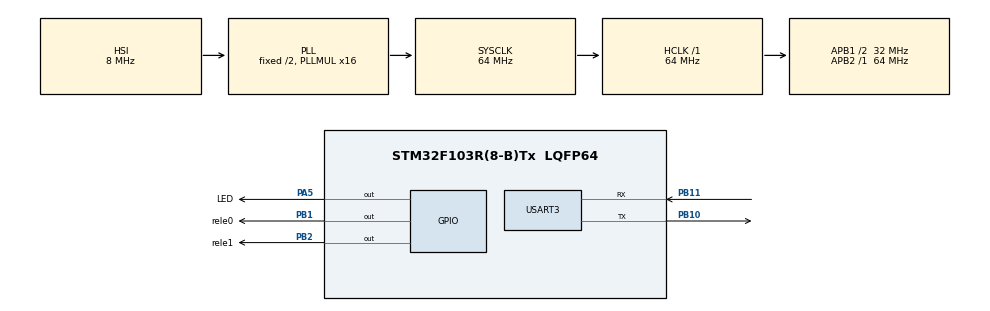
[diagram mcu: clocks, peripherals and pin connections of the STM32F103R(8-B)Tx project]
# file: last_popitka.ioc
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Mcu.Family=STM32F1
NVIC.USART3_IRQn=true\:0\:0\:false\:false\:true\:true\:true
PB10.Mode=Asynchronous
RCC.APB1CLKDivider=RCC_HCLK_DIV2
PB11.Signal=USART3_RX
RCC.SYSCLKSource=RCC_SYSCLKSOURCE_PLLCLK
ProjectManager.StackSize=0x400
PA13.Signal=SYS_JTMS-SWDIO
PB11.Mode=Asynchronous
ProjectManager.TargetToolchain=STM32CubeIDE
RCC.HCLKFreq_Value=64000000
RCC.APB2TimFreq_Value=64000000
RCC.USBFreq_Value=64000000
RCC.AHBFreq_Value=64000000
PB10.Signal=USART3_TX
PA5.Signal=GPIO_Output
PB2.Signal=GPIO_Output
board=custom
RCC.PLLMUL=RCC_PLL_MUL16
RCC.APB2Freq_Value=64000000
VP_TIM2_VS_ClockSourceINT.Mode=Internal
PA14.Mode=Serial_Wire
PB1.GPIO_Label=rele0
NVIC.TIM2_IRQn=true\:0\:0\:false\:false\:true\:true\:true
TIM2.Period=4000
PA13.Mode=Serial_Wire
Mcu.Name=STM32F103R(8-B)Tx
RCC.SYSCLKFreq_VALUE=64000000
Mcu.Package=LQFP64
TIM2.Prescaler=31999
PB1.Signal=GPIO_Output
PA5.GPIO_Label=LED
USART3.VirtualMode=VM_ASYNC
PA14.Signal=SYS_JTCK-SWCLK
PB2.GPIO_Label=rele1
ProjectManager.HeapSize=0x200
NVIC.PriorityGroup=NVIC_PRIORITYGROUP_4
TIM2.TIM_MasterOutputTrigger=TIM_TRGO_UPDATE
RCC.APB1TimFreq_Value=64000000
RCC.APB1Freq_Value=32000000

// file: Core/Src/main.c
/* USER CODE BEGIN Header */
/**
  ******************************************************************************
  * @file           : main.c
  * @brief          : Main program body
  ******************************************************************************
  * @attention
  *
  * <h2><center>&copy; Copyright (c) 2021 STMicroelectronics.
  * All rights reserved.</center></h2>
  *
  * This software component is licensed by ST under BSD 3-Clause license,
  * the "License"; You may not use this file except in compliance with the
  * License. You may obtain a copy of the License at:
  *                        opensource.org/licenses/BSD-3-Clause
  *
  ******************************************************************************
  */
/* USER CODE END Header */
#include "main.h"

/* USER CODE BEGIN Includes */
#include <string.h>
/* USER CODE END Includes */

TIM_HandleTypeDef htim2;

UART_HandleTypeDef huart3;

/* USER CODE BEGIN PV */
int sr0=0;
char str1[60]={0};
typedef struct USART_prop{
  uint8_t usart_buf[60];
  uint8_t usart_cnt;
  uint8_t is_tcp_connect;//статус попытки создать соединение TCP с сервером
  uint8_t is_text;//статус попытки передать текст серверу
} USART_prop_ptr;
USART_prop_ptr usartprop;
uint8_t i=0;
char *str2[] =
{
  "String1\r\n",
  "String2\r\n",
  "String3\r\n",
  "String4\r\n",
  "String5\r\n"
};
/* USER CODE END PV */

void SystemClock_Config(void);
static void MX_GPIO_Init(void);
static void MX_TIM2_Init(void);
static void MX_USART3_UART_Init(void);

/* USER CODE BEGIN 0 */
void string_parse(char* buf_str)
{
	char* tmpBufStr = "You sent  ";
	HAL_UART_Transmit(&huart3,(uint8_t*)buf_str,strlen(buf_str),0x1000);
	HAL_UART_Transmit(&huart3,(uint8_t*)tmpBufStr,strlen(tmpBufStr),0x1000);

  HAL_UART_Transmit(&huart3,(uint8_t*)buf_str,strlen(buf_str),0x1000);
  //HAL_GPIO_TogglePin(GPIOC, GPIO_PIN_13);
}
//-----------------------------------------------

void UART2_RxCpltCallback(void)
{
  uint8_t b;
  b = str1[0];
  //если вдруг случайно превысим длину буфера
  if (usartprop.usart_cnt>59)
  {
    usartprop.usart_cnt=0;
    HAL_UART_Receive_IT(&huart3,(uint8_t*)str1,1);
    return;
  }
  usartprop.usart_buf[usartprop.usart_cnt] = b;
  if(b==0x0A)
  {
    usartprop.usart_buf[usartprop.usart_cnt+1]=0;
    string_parse((char*)usartprop.usart_buf);
    usartprop.usart_cnt=0;
    HAL_UART_Receive_IT(&huart3,(uint8_t*)str1,1);
   return;
  }
  usartprop.usart_cnt++;
  HAL_UART_Receive_IT(&huart3,(uint8_t*)str1,1);
}

//-----------------------------------------------
/* USER CODE END 0 */

int main(void)
{

  /* MCU Configuration--------------------------------------------------------*/

  /* Reset of all peripherals, Initializes the Flash interface and the Systick. */
  HAL_Init();

  /* Configure the system clock */
  SystemClock_Config();

  /* Initialize all configured peripherals */
  MX_GPIO_Init();
  MX_TIM2_Init();
  MX_USART3_UART_Init();
  /* USER CODE BEGIN 2 */

  HAL_UART_Receive_IT(&huart3,(uint8_t*)str1,1);
  HAL_TIM_Base_Start_IT(&htim2);

  HAL_GPIO_WritePin(rele0_GPIO_Port, rele0_Pin, GPIO_PIN_SET);
  sr0=1;

  /* USER CODE END 2 */

  /* Infinite loop */
  /* USER CODE BEGIN WHILE */
  while (1)
  {
	  if (str1[0] == '1' && sr0== 1){
		 HAL_GPIO_TogglePin(rele0_GPIO_Port, rele0_Pin);
		 HAL_GPIO_TogglePin(rele1_GPIO_Port, rele1_Pin);
		 sr0=0;
		 HAL_UART_Receive_IT(&huart3,(uint8_t*)str1,1);
	  }
	    else if (str1[0] == '0'&& sr0 == 0){
	    HAL_GPIO_TogglePin(rele0_GPIO_Port, rele0_Pin);
	    HAL_GPIO_TogglePin(rele1_GPIO_Port, rele1_Pin);
	    sr0=1;
	    HAL_UART_Receive_IT(&huart3,(uint8_t*)str1,1);
	  }
	  HAL_GPIO_WritePin(LED_GPIO_Port,LED_Pin,GPIO_PIN_SET);
    /* USER CODE END WHILE */

    /* USER CODE BEGIN 3 */
  //HAL_GPIO_TogglePin(LED_GPIO_Port, LED_Pin);//часть диод гори toggle=переключить на противоположное
  //HAL_Delay(1000);

  }
  /* USER CODE END 3 */
}

void SystemClock_Config(void)
{
  RCC_OscInitTypeDef RCC_OscInitStruct = {0};
  RCC_ClkInitTypeDef RCC_ClkInitStruct = {0};

  /** Initializes the RCC Oscillators according to the specified parameters
  * in the RCC_OscInitTypeDef structure.
  */
  RCC_OscInitStruct.OscillatorType = RCC_OSCILLATORTYPE_HSI;
  RCC_OscInitStruct.HSIState = RCC_HSI_ON;
  RCC_OscInitStruct.HSICalibrationValue = RCC_HSICALIBRATION_DEFAULT;
  RCC_OscInitStruct.PLL.PLLState = RCC_PLL_ON;
  RCC_OscInitStruct.PLL.PLLSource = RCC_PLLSOURCE_HSI_DIV2;
  RCC_OscInitStruct.PLL.PLLMUL = RCC_PLL_MUL16;
  if (HAL_RCC_OscConfig(&RCC_OscInitStruct) != HAL_OK)
  {
    Error_Handler();
  }
  /** Initializes the CPU, AHB and APB buses clocks
  */
  RCC_ClkInitStruct.ClockType = RCC_CLOCKTYPE_HCLK|RCC_CLOCKTYPE_SYSCLK
                              |RCC_CLOCKTYPE_PCLK1|RCC_CLOCKTYPE_PCLK2;
  RCC_ClkInitStruct.SYSCLKSource = RCC_SYSCLKSOURCE_PLLCLK;
  RCC_ClkInitStruct.AHBCLKDivider = RCC_SYSCLK_DIV1;
  RCC_ClkInitStruct.APB1CLKDivider = RCC_HCLK_DIV2;
  RCC_ClkInitStruct.APB2CLKDivider = RCC_HCLK_DIV1;

  if (HAL_RCC_ClockConfig(&RCC_ClkInitStruct, FLASH_LATENCY_2) != HAL_OK)
  {
    Error_Handler();
  }
}

static void MX_TIM2_Init(void)
{

  TIM_ClockConfigTypeDef sClockSourceConfig = {0};
  TIM_MasterConfigTypeDef sMasterConfig = {0};

  htim2.Instance = TIM2;
  htim2.Init.Prescaler = 31999;
  htim2.Init.CounterMode = TIM_COUNTERMODE_UP;
  htim2.Init.Period = 4000;
  htim2.Init.ClockDivision = TIM_CLOCKDIVISION_DIV1;
  htim2.Init.AutoReloadPreload = TIM_AUTORELOAD_PRELOAD_DISABLE;
  if (HAL_TIM_Base_Init(&htim2) != HAL_OK)
  {
    Error_Handler();
  }
  sClockSourceConfig.ClockSource = TIM_CLOCKSOURCE_INTERNAL;
  if (HAL_TIM_ConfigClockSource(&htim2, &sClockSourceConfig) != HAL_OK)
  {
    Error_Handler();
  }
  sMasterConfig.MasterOutputTrigger = TIM_TRGO_UPDATE;
  sMasterConfig.MasterSlaveMode = TIM_MASTERSLAVEMODE_DISABLE;
  if (HAL_TIMEx_MasterConfigSynchronization(&htim2, &sMasterConfig) != HAL_OK)
  {
    Error_Handler();
  }

}

static void MX_USART3_UART_Init(void)
{

  huart3.Instance = USART3;
  huart3.Init.BaudRate = 115200;
  huart3.Init.WordLength = UART_WORDLENGTH_8B;
  huart3.Init.StopBits = UART_STOPBITS_1;
  huart3.Init.Parity = UART_PARITY_NONE;
  huart3.Init.Mode = UART_MODE_TX_RX;
  huart3.Init.HwFlowCtl = UART_HWCONTROL_NONE;
  huart3.Init.OverSampling = UART_OVERSAMPLING_16;
  if (HAL_UART_Init(&huart3) != HAL_OK)
  {
    Error_Handler();
  }

}

static void MX_GPIO_Init(void)
{
  GPIO_InitTypeDef GPIO_InitStruct = {0};

  /* GPIO Ports Clock Enable */
  __HAL_RCC_GPIOA_CLK_ENABLE();
  __HAL_RCC_GPIOB_CLK_ENABLE();

  /*Configure GPIO pin Output Level */
  HAL_GPIO_WritePin(LED_GPIO_Port, LED_Pin, GPIO_PIN_RESET);

  /*Configure GPIO pin Output Level */
  HAL_GPIO_WritePin(GPIOB, rele0_Pin|rele1_Pin, GPIO_PIN_RESET);

  /*Configure GPIO pin : LED_Pin */
  GPIO_InitStruct.Pin = LED_Pin;
  GPIO_InitStruct.Mode = GPIO_MODE_OUTPUT_PP;
  GPIO_InitStruct.Pull = GPIO_NOPULL;
  GPIO_InitStruct.Speed = GPIO_SPEED_FREQ_LOW;
  HAL_GPIO_Init(LED_GPIO_Port, &GPIO_InitStruct);

  /*Configure GPIO pins : rele0_Pin rele1_Pin */
  GPIO_InitStruct.Pin = rele0_Pin|rele1_Pin;
  GPIO_InitStruct.Mode = GPIO_MODE_OUTPUT_PP;
  GPIO_InitStruct.Pull = GPIO_NOPULL;
  GPIO_InitStruct.Speed = GPIO_SPEED_FREQ_LOW;
  HAL_GPIO_Init(GPIOB, &GPIO_InitStruct);

}

/* USER CODE BEGIN 4 */
void HAL_UART_RxCpltCallback(UART_HandleTypeDef *huart)
{
  if(huart==&huart3)
  {
   UART2_RxCpltCallback();
  }
}
/* USER CODE END 4 */

void Error_Handler(void)
{
  __disable_irq();
  while (1)
  {
  }
}

/************************ (C) COPYRIGHT STMicroelectronics *****END OF FILE****/
